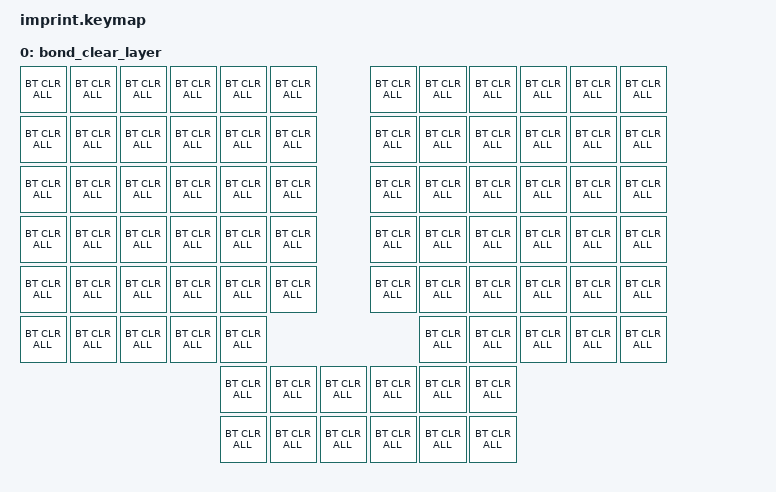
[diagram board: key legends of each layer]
#include <behaviors.dtsi>
#include <dt-bindings/zmk/bt.h>
#include <dt-bindings/zmk/keys.h>

/ {
    chosen { zmk,matrix-transform = &imprint_function_row_full_bottom_row; };

    keymap {
        compatible = "zmk,keymap";

        bond_clear_layer {
            // Every single key clears all Bluetooth bonds
            // Press ANY key on this keyboard and it will clear bonds
            bindings = <
&bt BT_CLR_ALL  &bt BT_CLR_ALL  &bt BT_CLR_ALL  &bt BT_CLR_ALL  &bt BT_CLR_ALL  &bt BT_CLR_ALL                    &bt BT_CLR_ALL  &bt BT_CLR_ALL  &bt BT_CLR_ALL  &bt BT_CLR_ALL  &bt BT_CLR_ALL  &bt BT_CLR_ALL
&bt BT_CLR_ALL  &bt BT_CLR_ALL  &bt BT_CLR_ALL  &bt BT_CLR_ALL  &bt BT_CLR_ALL  &bt BT_CLR_ALL                    &bt BT_CLR_ALL  &bt BT_CLR_ALL  &bt BT_CLR_ALL  &bt BT_CLR_ALL  &bt BT_CLR_ALL  &bt BT_CLR_ALL
&bt BT_CLR_ALL  &bt BT_CLR_ALL  &bt BT_CLR_ALL  &bt BT_CLR_ALL  &bt BT_CLR_ALL  &bt BT_CLR_ALL                    &bt BT_CLR_ALL  &bt BT_CLR_ALL  &bt BT_CLR_ALL  &bt BT_CLR_ALL  &bt BT_CLR_ALL  &bt BT_CLR_ALL
&bt BT_CLR_ALL  &bt BT_CLR_ALL  &bt BT_CLR_ALL  &bt BT_CLR_ALL  &bt BT_CLR_ALL  &bt BT_CLR_ALL                    &bt BT_CLR_ALL  &bt BT_CLR_ALL  &bt BT_CLR_ALL  &bt BT_CLR_ALL  &bt BT_CLR_ALL  &bt BT_CLR_ALL
&bt BT_CLR_ALL  &bt BT_CLR_ALL  &bt BT_CLR_ALL  &bt BT_CLR_ALL  &bt BT_CLR_ALL  &bt BT_CLR_ALL                    &bt BT_CLR_ALL  &bt BT_CLR_ALL  &bt BT_CLR_ALL  &bt BT_CLR_ALL  &bt BT_CLR_ALL  &bt BT_CLR_ALL
&bt BT_CLR_ALL  &bt BT_CLR_ALL  &bt BT_CLR_ALL  &bt BT_CLR_ALL  &bt BT_CLR_ALL                                                    &bt BT_CLR_ALL  &bt BT_CLR_ALL  &bt BT_CLR_ALL  &bt BT_CLR_ALL  &bt BT_CLR_ALL
                                                                &bt BT_CLR_ALL  &bt BT_CLR_ALL  &bt BT_CLR_ALL    &bt BT_CLR_ALL  &bt BT_CLR_ALL  &bt BT_CLR_ALL
                                                                &bt BT_CLR_ALL  &bt BT_CLR_ALL  &bt BT_CLR_ALL    &bt BT_CLR_ALL  &bt BT_CLR_ALL  &bt BT_CLR_ALL
            >;
        };
    };
};
